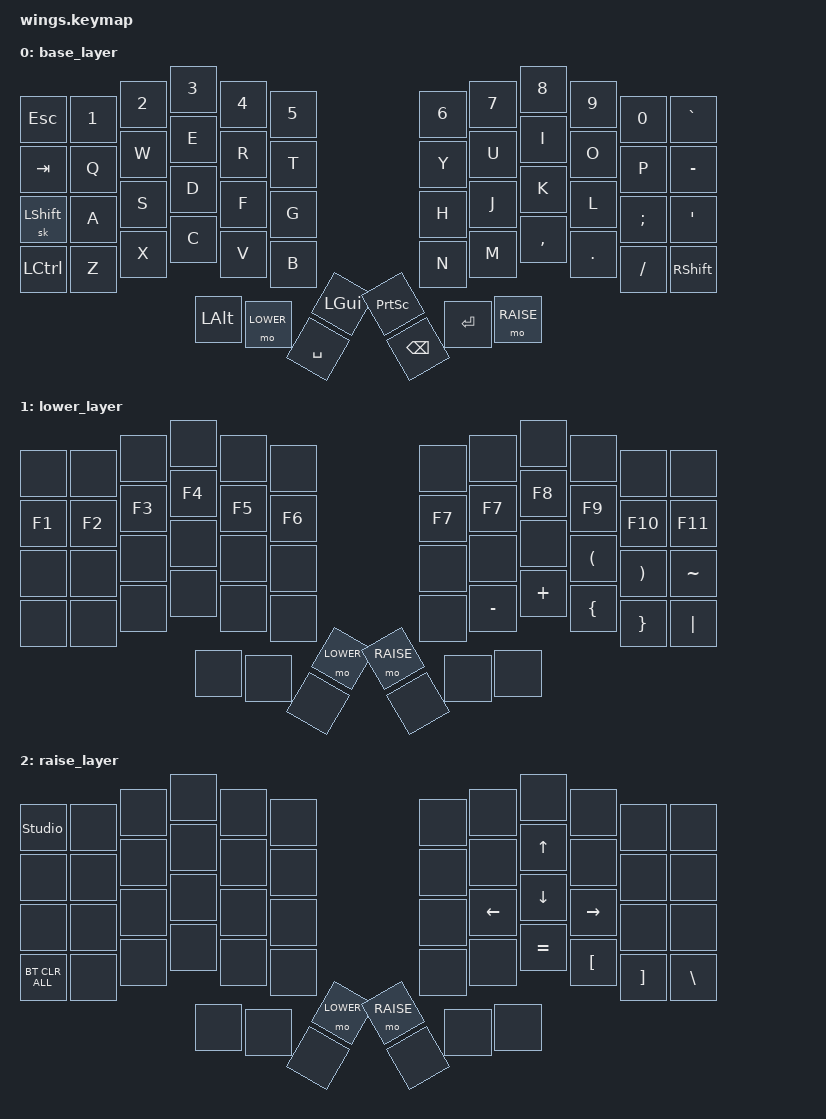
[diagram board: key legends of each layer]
/*
 * Copyright (c) 2021 The ZMK Contributors
 *
 * SPDX-License-Identifier: MIT
 */

#define DEFAULT 0
#define LOWER 1
#define RAISE 2

#include <behaviors.dtsi>
#include <dt-bindings/zmk/keys.h>
#include <dt-bindings/zmk/bt.h>

/ {

    keymap {
        compatible = "zmk,keymap";

        // This is a sample keymap intended to be replaced with your own
        base_layer {
            bindings = <
            // ------------------------------------------------------------------------------------------------------------
            // |  ESC  |  1  |  2  |  3   |  4   |  5   |                   |  6   |  7    |  8    |  9   |   0   |   `   |
            // |  TAB  |  Q  |  W  |  E   |  R   |  T   |                   |  Y   |  U    |  I    |  O   |   P   |   -   |
            // | SHIFT |  A  |  S  |  D   |  F   |  G   |                   |  H   |  J    |  K    |  L   |   ;   |   '   |
            // |  CTRL |  Z  |  X  |  C   |  V   |  B   |                   |  N   |  M    |  ,    |  .   |   /   | SHIFT |
            //               | ALT | LOWER| SPACE| GUI  |                   |SCREEN| DEL   | ENTER | RAISE|
                &kp ESC    &kp N1     &kp N2     &kp N3     &kp N4      &kp N5               &kp N6     &kp N7     &kp N8     &kp N9     &kp N0     &kp GRAVE
                &kp TAB    &kp Q      &kp W      &kp E      &kp R       &kp T                &kp Y      &kp U      &kp I      &kp O      &kp P      &kp MINUS
                &sk LSHIFT &kp A      &kp S      &kp D      &kp F       &kp G                &kp H      &kp J      &kp K      &kp L      &kp SEMI   &kp SQT
                &kp LCTRL  &kp Z      &kp X      &kp C      &kp V       &kp B                &kp N      &kp M      &kp COMMA  &kp DOT    &kp FSLH   &kp RSHIFT
                                      &kp LALT   &mo LOWER  &kp SPACE   &kp LGUI             &kp PSCRN  &kp BSPC   &kp ENTER  &mo RAISE
            >;
        };           

        lower_layer {
            // ------------------------------------------------------------------------------------------------------------
            // |       |     |     |      |      |      |                   |      |       |       |      |       |       |
            // |  F1   |  F2 |  F3 |  F4  |  F5  |  F6  |                   |  F7  |  F8   |  F9   |  F10 |  F11  |  F12  |
            // |   `   |  !  |  @  |  #   |  $   |  %   |                   |  ^   |  &    |  *    |  (   |   )   |   ~   |
            // |       |     |     |      |      |      |                   |      |  -    |  +    |  {   |   }   |  "|"  |
            //               |     |      |      | LOWER|                   | RAISE|       |       |      |
            bindings = <
                &none      &none      &none      &none      &none       &none                &none      &none      &none      &none      &none      &none 
                &kp F1     &kp F2     &kp F3     &kp F4     &kp F5      &kp F6               &kp F7     &kp F7     &kp F8     &kp F9     &kp F10    &kp F11
                &none      &none      &none      &none      &none       &none                &none      &none      &none      &kp LPAR   &kp RPAR   &kp TILDE
                &none      &none      &none      &none      &none       &none                &none      &kp MINUS  &kp PLUS   &kp LBRC   &kp RBRC   &kp PIPE
                                      &none      &none      &none       &mo LOWER            &mo RAISE  &none      &none      &none 
            >;

        };

        raise_layer {
            // ------------------------------------------------------------------------------------------------------------
            // | studio|     |     |      |      |      |                   |      |       |       |      |       |       |
            // |       |     |     |      |      |      |                   |      |       |   ^   |      |       |       |
            // |       |     |     |      |      |      |                   |      |   <-  |   v   |  ->  |       |       |
            // |BT CLR |     |     |      |      |      |        |  |       |      |       |   =   |  [   |   ]   |   \   |
            //               |     |      |      | LOWER|                   | RAISE|       |       |      |
            bindings = <
                &studio_unlock &none  &none      &none      &none       &none                &none      &none      &none      &none      &none      &none 
                &none      &none      &none      &none      &none       &none                &none      &none      &kp UP     &none      &none      &none 
                &none      &none      &none      &none      &none       &none                &none      &kp LEFT   &kp DOWN   &kp RIGHT  &none      &none 
                &bt BT_CLR_ALL   &none   &none      &none      &none       &none                &none      &none      &kp EQUAL  &kp LBKT   &kp RBKT   &kp BSLH
                                      &none      &none      &none       &mo LOWER            &mo RAISE  &none      &none      &none 
            >;

        };

    };
};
